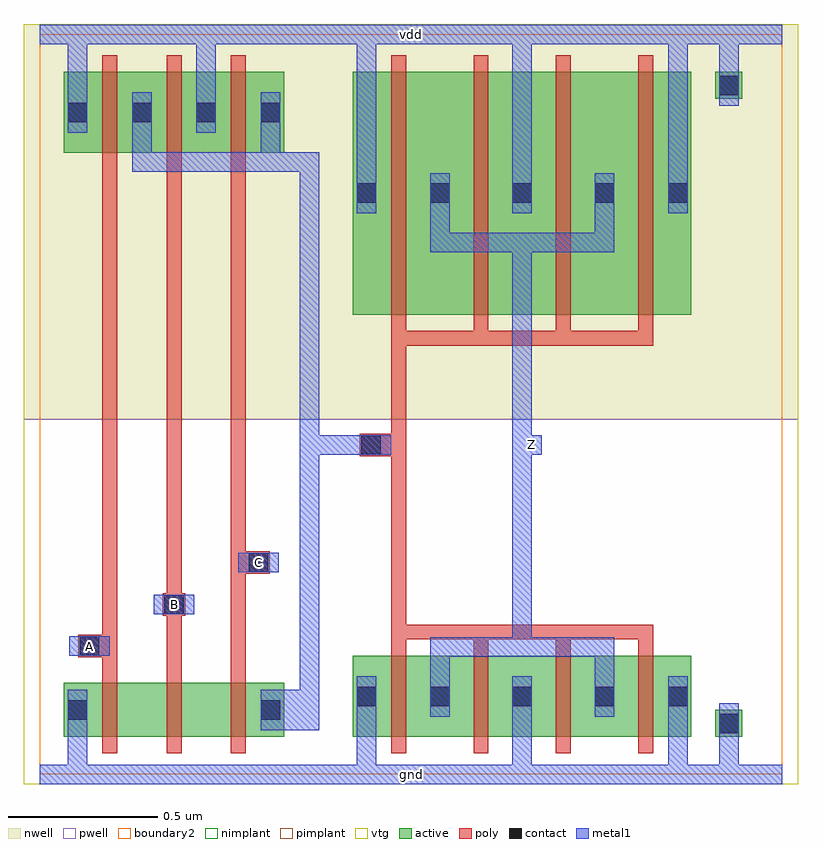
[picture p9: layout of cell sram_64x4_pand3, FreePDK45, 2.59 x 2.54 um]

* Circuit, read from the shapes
.subckt sram_64x4_pand3 A B C Z gnd vdd
M1 sram_64x4_pnand3_0_0/sram_64x4_nmos_m1_w0_180_sm1_dactive_3/D A gnd gnd nfet w=0.18u l=0.05u
M2 sram_64x4_pnand3_0_0/sram_64x4_nmos_m1_w0_180_sactive_dactive_4/D B sram_64x4_pnand3_0_0/sram_64x4_nmos_m1_w0_180_sm1_dactive_3/D gnd nfet w=0.18u l=0.05u
M3 sram_64x4_pdriver_0_1/A C sram_64x4_pnand3_0_0/sram_64x4_nmos_m1_w0_180_sactive_dactive_4/D gnd nfet w=0.18u l=0.05u
M4 Z sram_64x4_pdriver_0_1/A gnd gnd nfet w=0.27u l=0.05u m=4
M5 sram_64x4_pdriver_0_1/A A vdd vdd pfet w=0.27u l=0.05u
M6 vdd B sram_64x4_pdriver_0_1/A vdd pfet w=0.27u l=0.05u
M7 sram_64x4_pdriver_0_1/A C vdd vdd pfet w=0.27u l=0.05u
M8 Z sram_64x4_pdriver_0_1/A vdd vdd pfet w=0.81u l=0.05u m=4
.ends

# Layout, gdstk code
import gdstk
lib = gdstk.Library(unit=1e-6, precision=5e-10)
def R(c, l, rs):  # rectangles x0, y0, x1, y1
    for r in rs: c.add(gdstk.rectangle(r[:2], r[2:], *l))
def A(c, l, x, y, w, h, nx, ny, dx, dy):  # array of equal rectangles
    R(c, l, [(x+i*dx, y+j*dy, x+i*dx+w, y+j*dy+h) for i in range(nx) for j in range(ny)])
active = (1, 0)
pwell = (2, 0)
nwell = (3, 0)
nimplant = (4, 0)
pimplant = (5, 0)
vtg = (6, 0)
poly = (9, 0)
contact = (10, 0)
metal1 = (11, 0)
boundary2 = (239, 0)

sram_64x4_contact_11 = lib.new_cell('sram_64x4_contact_11')
R(sram_64x4_contact_11, active, [(0,0.0225,0.09,0.1125)])
R(sram_64x4_contact_11, nwell, [(-0.055,-0.0325,0.145,0.1675)])
R(sram_64x4_contact_11, pimplant, [(0,0.0225,0.09,0.1125)])
R(sram_64x4_contact_11, contact, [(0.0125,0.035,0.0775,0.1)])
R(sram_64x4_contact_11, metal1, [(0.0125,0,0.0775,0.135)])
R(sram_64x4_contact_11, boundary2, [(-0.055,-0.0325,0.145,0.1675)])

sram_64x4_pmos_m1_w0_270 = lib.new_cell('sram_64x4_pmos_m1_w0_270_sm1_dm1')
R(sram_64x4_pmos_m1_w0_270, active, [(0,0,0.305,0.27)])
R(sram_64x4_pmos_m1_w0_270, nwell, [(-0.08,-0.08,0.385,0.35)])
R(sram_64x4_pmos_m1_w0_270, pimplant, [(0,0,0.305,0.27)])
R(sram_64x4_pmos_m1_w0_270, vtg, [(-0.08,-0.08,0.385,0.35)])
R(sram_64x4_pmos_m1_w0_270, poly, [(0.1275,-0.055,0.1775,0.325), (0.1275,-0.055,0.1775,0.325)])
R(sram_64x4_pmos_m1_w0_270, metal1, [(0.0125,0.0675,0.0775,0.2025), (0.2275,0.0675,0.2925,0.2025)])
R(sram_64x4_pmos_m1_w0_270, boundary2, [(-0.08,-0.08,0.385,0.35)])
sram_64x4_pmos_m1_w0_270.add(gdstk.Reference(sram_64x4_contact_11, (0,0.0675)))
sram_64x4_pmos_m1_w0_270.add(gdstk.Reference(sram_64x4_contact_11, (0.215,0.0675)))
sram_64x4_pmos_m1_w0_270.add(gdstk.Label('G', (0.1525,0.135), layer=9, texttype=0))
sram_64x4_pmos_m1_w0_270.add(gdstk.Label('S', (0.045,0.135), layer=11, texttype=0))
sram_64x4_pmos_m1_w0_270.add(gdstk.Label('D', (0.26,0.135), layer=11, texttype=0))

sram_64x4_contact_10 = lib.new_cell('sram_64x4_contact_10')
R(sram_64x4_contact_10, active, [(0,0.0225,0.09,0.1125)])
R(sram_64x4_contact_10, pwell, [(-0.055,-0.0325,0.145,0.1675)])
R(sram_64x4_contact_10, nimplant, [(0,0.0225,0.09,0.1125)])
R(sram_64x4_contact_10, contact, [(0.0125,0.035,0.0775,0.1)])
R(sram_64x4_contact_10, metal1, [(0.0125,0,0.0775,0.135)])
R(sram_64x4_contact_10, boundary2, [(-0.055,-0.0325,0.145,0.1675)])

sram_64x4_nmos_m1_w0_180 = lib.new_cell('sram_64x4_nmos_m1_w0_180_sm1_dactive')
R(sram_64x4_nmos_m1_w0_180, active, [(0,0,0.305,0.18), (0.215,0.045,0.305,0.135)])
R(sram_64x4_nmos_m1_w0_180, pwell, [(-0.08,-0.08,0.385,0.26)])
R(sram_64x4_nmos_m1_w0_180, nimplant, [(0,0,0.305,0.18)])
R(sram_64x4_nmos_m1_w0_180, vtg, [(-0.08,-0.08,0.385,0.26)])
R(sram_64x4_nmos_m1_w0_180, poly, [(0.1275,-0.055,0.1775,0.235), (0.1275,-0.055,0.1775,0.235)])
R(sram_64x4_nmos_m1_w0_180, metal1, [(0.0125,0.0225,0.0775,0.1575)])
R(sram_64x4_nmos_m1_w0_180, boundary2, [(-0.08,-0.08,0.385,0.26)])
sram_64x4_nmos_m1_w0_180.add(gdstk.Reference(sram_64x4_contact_10, (0,0.0225)))
sram_64x4_nmos_m1_w0_180.add(gdstk.Label('G', (0.1525,0.09), layer=9, texttype=0))
sram_64x4_nmos_m1_w0_180.add(gdstk.Label('S', (0.045,0.09), layer=11, texttype=0))
sram_64x4_nmos_m1_w0_180.add(gdstk.Label('D', (0.26,0.09), layer=1, texttype=0))

c_sram_64x4_nmos_m1_w0_180 = lib.new_cell('sram_64x4_nmos_m1_w0_180_sactive_dactive')
R(c_sram_64x4_nmos_m1_w0_180, active, [(0,0,0.305,0.18), (0,0.045,0.09,0.135), (0.215,0.045,0.305,0.135)])
R(c_sram_64x4_nmos_m1_w0_180, pwell, [(-0.08,-0.08,0.385,0.26)])
R(c_sram_64x4_nmos_m1_w0_180, nimplant, [(0,0,0.305,0.18)])
R(c_sram_64x4_nmos_m1_w0_180, vtg, [(-0.08,-0.08,0.385,0.26)])
R(c_sram_64x4_nmos_m1_w0_180, poly, [(0.1275,-0.055,0.1775,0.235), (0.1275,-0.055,0.1775,0.235)])
R(c_sram_64x4_nmos_m1_w0_180, boundary2, [(-0.08,-0.08,0.385,0.26)])
c_sram_64x4_nmos_m1_w0_180.add(gdstk.Label('G', (0.1525,0.09), layer=9, texttype=0))
c_sram_64x4_nmos_m1_w0_180.add(gdstk.Label('S', (0.045,0.09), layer=1, texttype=0))
c_sram_64x4_nmos_m1_w0_180.add(gdstk.Label('D', (0.26,0.09), layer=1, texttype=0))

c_sram_64x4_nmos_m1_w0_180_ = lib.new_cell('sram_64x4_nmos_m1_w0_180_sactive_dm1')
R(c_sram_64x4_nmos_m1_w0_180_, active, [(0,0,0.305,0.18), (0,0.045,0.09,0.135)])
R(c_sram_64x4_nmos_m1_w0_180_, pwell, [(-0.08,-0.08,0.385,0.26)])
R(c_sram_64x4_nmos_m1_w0_180_, nimplant, [(0,0,0.305,0.18)])
R(c_sram_64x4_nmos_m1_w0_180_, vtg, [(-0.08,-0.08,0.385,0.26)])
R(c_sram_64x4_nmos_m1_w0_180_, poly, [(0.1275,-0.055,0.1775,0.235), (0.1275,-0.055,0.1775,0.235)])
R(c_sram_64x4_nmos_m1_w0_180_, metal1, [(0.2275,0.0225,0.2925,0.1575)])
R(c_sram_64x4_nmos_m1_w0_180_, boundary2, [(-0.08,-0.08,0.385,0.26)])
c_sram_64x4_nmos_m1_w0_180_.add(gdstk.Reference(sram_64x4_contact_10, (0.215,0.0225)))
c_sram_64x4_nmos_m1_w0_180_.add(gdstk.Label('G', (0.1525,0.09), layer=9, texttype=0))
c_sram_64x4_nmos_m1_w0_180_.add(gdstk.Label('S', (0.045,0.09), layer=1, texttype=0))
c_sram_64x4_nmos_m1_w0_180_.add(gdstk.Label('D', (0.26,0.09), layer=11, texttype=0))

sram_64x4_contact_14 = lib.new_cell('sram_64x4_contact_14')
R(sram_64x4_contact_14, poly, [(0.03,0,0.105,0.075)])
R(sram_64x4_contact_14, contact, [(0.035,0.005,0.1,0.07)])
R(sram_64x4_contact_14, metal1, [(0,0.005,0.135,0.07)])
R(sram_64x4_contact_14, boundary2, [(0,0,0.135,0.075)])

sram_64x4_pnand3_0 = lib.new_cell('sram_64x4_pnand3_0')
R(sram_64x4_pnand3_0, pwell, [(-0.055,-0.0325,1.02,1.185)])
R(sram_64x4_pnand3_0, nwell, [(-0.055,1.185,1.02,2.505)])
R(sram_64x4_pnand3_0, vtg, [(-0.055,-0.0325,1.02,1.185), (-0.055,1.185,1.02,2.505)])
A(sram_64x4_pnand3_0, poly, 0.2075, 0.36, 0.05, 1.66, 3, 1, 0.215, 0)
R(sram_64x4_pnand3_0, poly, [(0.165,0.39,0.2075,0.465), (0.4225,0.53,0.4475,0.605), (0.6375,0.67,0.73,0.745)])
R(sram_64x4_pnand3_0, metal1, [(0,-0.0325,0.965,0.0325), (0.0925,-0.0325,0.1575,0.1475), (0.77,0.1475,0.9,0.2825), (0.8675,0.1475,0.9325,2.045), (0.0975,0.395,0.2325,0.46), (0.38,0.535,0.515,0.6), (0.6625,0.675,0.7975,0.74), (0.3075,2.0125,0.3725,2.0775), (0.34,2.0125,0.9,2.0775), (0.7375,2.0125,0.8025,2.0775), (0.77,2.0125,0.9,2.0775), (0.8675,2.0125,0.9325,2.0775), (0.3075,2.045,0.3725,2.21), (0.7375,2.045,0.8025,2.21), (0.0925,2.1425,0.1575,2.5025), (0.5225,2.1425,0.5875,2.5025), (0,2.4375,0.965,2.5025)])
R(sram_64x4_pnand3_0, boundary2, [(0,0,0.965,2.47), (0,0,0.965,2.47)])
sram_64x4_pnand3_0.add(gdstk.Reference(sram_64x4_pmos_m1_w0_270, (0.08,2.075)))
sram_64x4_pnand3_0.add(gdstk.Reference(sram_64x4_pmos_m1_w0_270, (0.295,2.075)))
sram_64x4_pnand3_0.add(gdstk.Reference(sram_64x4_pmos_m1_w0_270, (0.51,2.075)))
sram_64x4_pnand3_0.add(gdstk.Reference(sram_64x4_nmos_m1_w0_180, (0.08,0.125)))
sram_64x4_pnand3_0.add(gdstk.Reference(c_sram_64x4_nmos_m1_w0_180, (0.295,0.125)))
sram_64x4_pnand3_0.add(gdstk.Reference(c_sram_64x4_nmos_m1_w0_180_, (0.51,0.125)))
sram_64x4_pnand3_0.add(gdstk.Reference(sram_64x4_contact_14, (0.0975,0.39)))
sram_64x4_pnand3_0.add(gdstk.Reference(sram_64x4_contact_14, (0.38,0.53)))
sram_64x4_pnand3_0.add(gdstk.Reference(sram_64x4_contact_14, (0.6625,0.67)))
sram_64x4_pnand3_0.add(gdstk.Label('A', (0.165,0.4275), layer=11, texttype=0))
sram_64x4_pnand3_0.add(gdstk.Label('B', (0.4475,0.5675), layer=11, texttype=0))
sram_64x4_pnand3_0.add(gdstk.Label('C', (0.73,0.7075), layer=11, texttype=0))
sram_64x4_pnand3_0.add(gdstk.Label('Z', (0.9,2.045), layer=11, texttype=0))
sram_64x4_pnand3_0.add(gdstk.Label('gnd', (0.4825,0), layer=11, texttype=0))
sram_64x4_pnand3_0.add(gdstk.Label('vdd', (0.4825,2.47), layer=11, texttype=0))

sram_64x4_pmos_m4_w0_810 = lib.new_cell('sram_64x4_pmos_m4_w0_810_sm1_dm1_da_p')
R(sram_64x4_pmos_m4_w0_810, active, [(0,0,1.13,0.81)])
R(sram_64x4_pmos_m4_w0_810, nwell, [(-0.08,-0.08,1.21,0.89)])
R(sram_64x4_pmos_m4_w0_810, pimplant, [(0,0,1.13,0.81)])
R(sram_64x4_pmos_m4_w0_810, vtg, [(-0.08,-0.08,1.21,0.89)])
A(sram_64x4_pmos_m4_w0_810, poly, 0.1275, -0.055, 0.05, 0.92, 4, 1, 0.275, 0)
R(sram_64x4_pmos_m4_w0_810, poly, [(0.1275,-0.105,1.0025,-0.055)])
A(sram_64x4_pmos_m4_w0_810, metal1, 0.0125, 0.3375, 0.065, 0.135, 3, 1, 0.52, 0)
R(sram_64x4_pmos_m4_w0_810, metal1, [(0.2575,0.2075,0.8725,0.2725), (0.2575,0.24,0.3225,0.405), (0.8075,0.24,0.8725,0.405)])
R(sram_64x4_pmos_m4_w0_810, boundary2, [(-0.08,-0.105,1.21,0.89)])
sram_64x4_pmos_m4_w0_810.add(gdstk.Reference(sram_64x4_contact_11, (0,0.3375)))
sram_64x4_pmos_m4_w0_810.add(gdstk.Reference(sram_64x4_contact_11, (0.245,0.3375)))
sram_64x4_pmos_m4_w0_810.add(gdstk.Reference(sram_64x4_contact_11, (0.52,0.3375)))
sram_64x4_pmos_m4_w0_810.add(gdstk.Reference(sram_64x4_contact_11, (0.795,0.3375)))
sram_64x4_pmos_m4_w0_810.add(gdstk.Reference(sram_64x4_contact_11, (1.04,0.3375)))
sram_64x4_pmos_m4_w0_810.add(gdstk.Label('G', (0.565,-0.08), layer=9, texttype=0))
sram_64x4_pmos_m4_w0_810.add(gdstk.Label('S', (0.045,0.405), layer=11, texttype=0))
sram_64x4_pmos_m4_w0_810.add(gdstk.Label('S', (0.565,0.405), layer=11, texttype=0))
sram_64x4_pmos_m4_w0_810.add(gdstk.Label('S', (1.085,0.405), layer=11, texttype=0))
sram_64x4_pmos_m4_w0_810.add(gdstk.Label('D', (0.565,0.24), layer=11, texttype=0))

sram_64x4_nmos_m4_w0_270 = lib.new_cell('sram_64x4_nmos_m4_w0_270_sm1_dm1_da_p')
R(sram_64x4_nmos_m4_w0_270, active, [(0,0,1.13,0.27)])
R(sram_64x4_nmos_m4_w0_270, pwell, [(-0.08,-0.08,1.21,0.35)])
R(sram_64x4_nmos_m4_w0_270, nimplant, [(0,0,1.13,0.27)])
R(sram_64x4_nmos_m4_w0_270, vtg, [(-0.08,-0.08,1.21,0.35)])
A(sram_64x4_nmos_m4_w0_270, poly, 0.1275, -0.055, 0.05, 0.38, 4, 1, 0.275, 0)
R(sram_64x4_nmos_m4_w0_270, poly, [(0.1275,0.325,1.0025,0.375)])
A(sram_64x4_nmos_m4_w0_270, metal1, 0.0125, 0.0675, 0.065, 0.135, 3, 1, 0.52, 0)
R(sram_64x4_nmos_m4_w0_270, metal1, [(0.2575,0.135,0.3225,0.3), (0.8075,0.135,0.8725,0.3), (0.2575,0.2675,0.8725,0.3325)])
R(sram_64x4_nmos_m4_w0_270, boundary2, [(-0.08,-0.08,1.21,0.375)])
sram_64x4_nmos_m4_w0_270.add(gdstk.Reference(sram_64x4_contact_10, (0,0.0675)))
sram_64x4_nmos_m4_w0_270.add(gdstk.Reference(sram_64x4_contact_10, (0.245,0.0675)))
sram_64x4_nmos_m4_w0_270.add(gdstk.Reference(sram_64x4_contact_10, (0.52,0.0675)))
sram_64x4_nmos_m4_w0_270.add(gdstk.Reference(sram_64x4_contact_10, (0.795,0.0675)))
sram_64x4_nmos_m4_w0_270.add(gdstk.Reference(sram_64x4_contact_10, (1.04,0.0675)))
sram_64x4_nmos_m4_w0_270.add(gdstk.Label('G', (0.565,0.35), layer=9, texttype=0))
sram_64x4_nmos_m4_w0_270.add(gdstk.Label('S', (0.045,0.135), layer=11, texttype=0))
sram_64x4_nmos_m4_w0_270.add(gdstk.Label('S', (0.565,0.135), layer=11, texttype=0))
sram_64x4_nmos_m4_w0_270.add(gdstk.Label('S', (1.085,0.135), layer=11, texttype=0))
sram_64x4_nmos_m4_w0_270.add(gdstk.Label('D', (0.565,0.3), layer=11, texttype=0))

sram_64x4_contact_12 = lib.new_cell('sram_64x4_contact_12')
R(sram_64x4_contact_12, active, [(0,0.0225,0.09,0.1125)])
R(sram_64x4_contact_12, nwell, [(-0.055,-0.0325,0.145,0.1675)])
R(sram_64x4_contact_12, nimplant, [(0,0.0225,0.09,0.1125)])
R(sram_64x4_contact_12, contact, [(0.0125,0.035,0.0775,0.1)])
R(sram_64x4_contact_12, metal1, [(0.0125,0,0.0775,0.135)])
R(sram_64x4_contact_12, boundary2, [(-0.055,-0.0325,0.145,0.1675)])

sram_64x4_contact_13 = lib.new_cell('sram_64x4_contact_13')
R(sram_64x4_contact_13, active, [(0,0.0225,0.09,0.1125)])
R(sram_64x4_contact_13, pwell, [(-0.055,-0.0325,0.145,0.1675)])
R(sram_64x4_contact_13, pimplant, [(0,0.0225,0.09,0.1125)])
R(sram_64x4_contact_13, contact, [(0.0125,0.035,0.0775,0.1)])
R(sram_64x4_contact_13, metal1, [(0.0125,0,0.0775,0.135)])
R(sram_64x4_contact_13, boundary2, [(-0.055,-0.0325,0.145,0.1675)])

sram_64x4_pinv_5 = lib.new_cell('sram_64x4_pinv_5')
R(sram_64x4_pinv_5, pwell, [(-0.055,-0.0325,1.5675,1.185)])
R(sram_64x4_pinv_5, nwell, [(-0.055,1.185,1.5675,2.505)])
R(sram_64x4_pinv_5, vtg, [(-0.055,-0.0325,1.5675,1.185), (-0.055,1.185,1.5675,2.505)])
R(sram_64x4_pinv_5, poly, [(0.2075,0.5,0.2575,1.43), (0.14,1.0625,0.2075,1.1375)])
A(sram_64x4_pinv_5, metal1, 0.0925, -0.0325, 0.065, 0.225, 3, 1, 0.52, 0)
A(sram_64x4_pinv_5, metal1, 0.0925, 1.8725, 0.065, 0.63, 3, 1, 0.52, 0)
R(sram_64x4_pinv_5, metal1, [(0,-0.0325,1.5125,0.0325), (1.3025,0,1.3675,0.17), (0.6125,0.3925,0.6775,1.8075), (0.0725,1.0675,0.2075,1.1325), (0.645,1.0675,0.71,1.1325), (1.3025,2.3,1.3675,2.47), (0,2.4375,1.5125,2.5025)])
R(sram_64x4_pinv_5, boundary2, [(0,0,1.5125,2.47), (0,0,1.5125,2.47)])
sram_64x4_pinv_5.add(gdstk.Reference(sram_64x4_pmos_m4_w0_810, (0.08,1.535)))
sram_64x4_pinv_5.add(gdstk.Reference(sram_64x4_nmos_m4_w0_270, (0.08,0.125)))
sram_64x4_pinv_5.add(gdstk.Reference(sram_64x4_contact_12, (1.29,2.2325)))
sram_64x4_pinv_5.add(gdstk.Reference(sram_64x4_contact_13, (1.29,0.1025)))
sram_64x4_pinv_5.add(gdstk.Reference(sram_64x4_contact_14, (0.0725,1.0625)))
sram_64x4_pinv_5.add(gdstk.Label('A', (0.14,1.1), layer=11, texttype=0))
sram_64x4_pinv_5.add(gdstk.Label('Z', (0.6775,1.1), layer=11, texttype=0))
sram_64x4_pinv_5.add(gdstk.Label('gnd', (0.756,0), layer=11, texttype=0))
sram_64x4_pinv_5.add(gdstk.Label('vdd', (0.756,2.47), layer=11, texttype=0))

sram_64x4_pdriver_0 = lib.new_cell('sram_64x4_pdriver_0')
R(sram_64x4_pdriver_0, pwell, [(-0.055,-0.0325,1.5675,1.185)])
R(sram_64x4_pdriver_0, nwell, [(-0.055,1.185,1.5675,2.505)])
R(sram_64x4_pdriver_0, vtg, [(-0.055,-0.0325,1.5675,1.185), (-0.055,1.185,1.5675,2.505)])
R(sram_64x4_pdriver_0, metal1, [(0,-0.0325,1.5125,0.0325), (0.0725,1.0675,0.2075,1.1325), (0.645,1.0675,0.71,1.1325), (0,2.4375,1.5125,2.5025)])
R(sram_64x4_pdriver_0, boundary2, [(0,0,1.5125,2.47), (0,0,1.5125,2.47)])
sram_64x4_pdriver_0.add(gdstk.Reference(sram_64x4_pinv_5, (0,0)))
sram_64x4_pdriver_0.add(gdstk.Label('Z', (0.6775,1.1), layer=11, texttype=0))
sram_64x4_pdriver_0.add(gdstk.Label('A', (0.14,1.1), layer=11, texttype=0))
sram_64x4_pdriver_0.add(gdstk.Label('gnd', (0.756,0), layer=11, texttype=0))
sram_64x4_pdriver_0.add(gdstk.Label('vdd', (0.756,2.47), layer=11, texttype=0))

sram_64x4_pand3 = lib.new_cell('sram_64x4_pand3')
R(sram_64x4_pand3, metal1, [(0,-0.0325,2.4775,0.0325), (0.0975,0.395,0.2325,0.46), (0.38,0.535,0.515,0.6), (0.6625,0.675,0.7975,0.74), (0.8675,1.0675,0.9325,1.1325), (0.9,1.0675,1.105,1.1325), (1.61,1.0675,1.675,1.1325), (0.8675,1.1,0.9325,2.045), (0,2.4375,2.4775,2.5025)])
R(sram_64x4_pand3, boundary2, [(0,0,2.4775,2.47), (0,0,2.4775,2.47)])
sram_64x4_pand3.add(gdstk.Reference(sram_64x4_pnand3_0, (0,0)))
sram_64x4_pand3.add(gdstk.Reference(sram_64x4_pdriver_0, (0.965,0)))
sram_64x4_pand3.add(gdstk.Label('Z', (1.6425,1.1), layer=11, texttype=0))
sram_64x4_pand3.add(gdstk.Label('A', (0.165,0.4275), layer=11, texttype=0))
sram_64x4_pand3.add(gdstk.Label('B', (0.4475,0.5675), layer=11, texttype=0))
sram_64x4_pand3.add(gdstk.Label('C', (0.73,0.7075), layer=11, texttype=0))
sram_64x4_pand3.add(gdstk.Label('gnd', (1.239,0), layer=11, texttype=0))
sram_64x4_pand3.add(gdstk.Label('vdd', (1.239,2.47), layer=11, texttype=0))

lib.write_gds('sram_64x4_pand3.gds')
